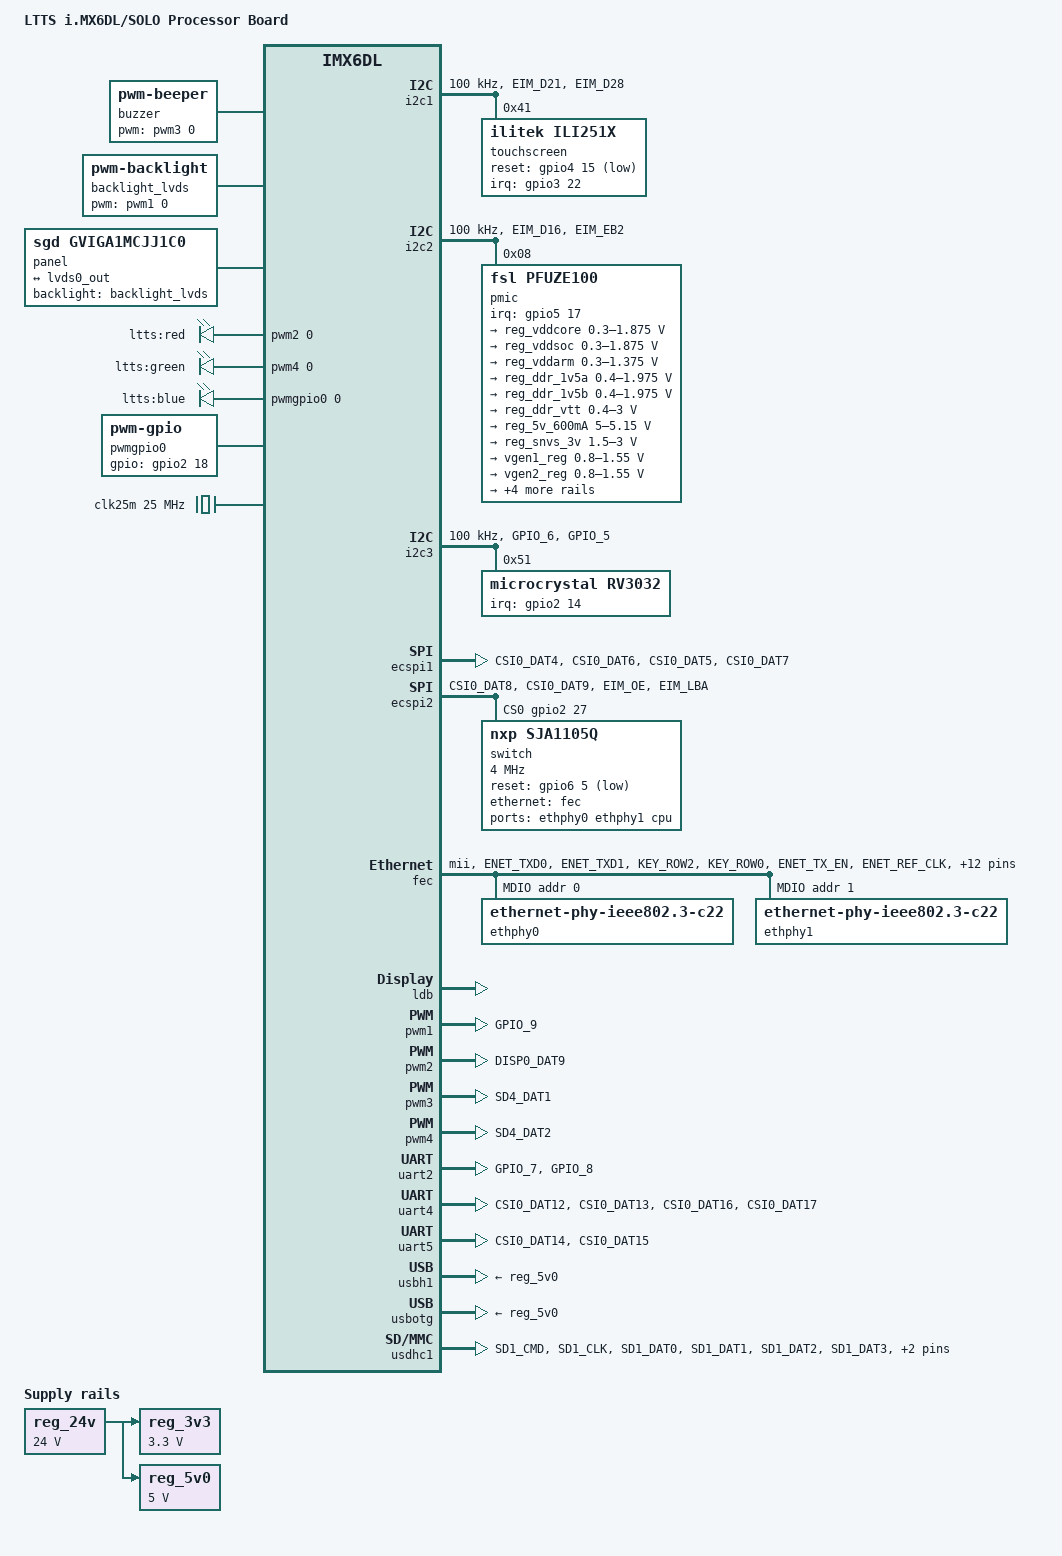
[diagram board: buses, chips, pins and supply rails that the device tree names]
// SPDX-License-Identifier: GPL-2.0 OR X11
/*
 * Copyright (C) 2016 Amarula Solutions
 */

/dts-v1/;

#include "imx6dl.dtsi"
#include <dt-bindings/gpio/gpio.h>

/ {
	model = "LTTS i.MX6DL/SOLO Processor Board";
	compatible = "ltts,imx6-icore", "fsl,imx6dl";

	chosen {
		stdout-path = &uart2;
	};

	buzzer {
		compatible = "pwm-beeper";
		pwms = <&pwm3 0 250000 0>;
		beeper-hz = <4000>;
        };

	backlight_lvds: backlight-lvds {
		compatible = "pwm-backlight";
		pwms = <&pwm1 0 5000000 0>;
		brightness-levels = <0 4 8 16 32 64 128 255>;
		default-brightness-level = <7>;
		status = "okay";
	};

	panel {
		compatible = "sgd,gviga1mcjj1c0";
		backlight = <&backlight_lvds>;

		port {
			panel_in: endpoint {
				remote-endpoint = <&lvds0_out>;
			};
		};
	};

	led-controller {
		compatible = "pwm-leds";

		led_red {
			label = "ltts:red";
			max-brightness = <255>;
			pwms = <&pwm2 0 5000000>;
		};

		led_green {
			label = "ltts:green";
			max-brightness = <255>;
			pwms = <&pwm4 0 5000000>;
		};

		led_blue {
			label = "ltts:blue";
			max-brightness = <255>;
			pwms = <&pwmgpio0 0 5000000>;
		};
	};

	pwmgpio0: pwmgpio0 {
		compatible = "pwm-gpio";
		#pwm-cells = <2>;
		gpios = <&gpio2 18 GPIO_ACTIVE_HIGH>;
		pinctrl-names = "default";
		pinctrl-0 = <&pinctrl_leds>;
	};

	clk25m: clock-25m {
		compatible = "fixed-clock";
		#clock-cells = <0>;
		clock-frequency = <25000000>;
		clock-output-names = "clk25m";
	};

	reg_24v: regulator-24v {
		compatible = "regulator-fixed";
		regulator-name = "24V";
		regulator-min-microvolt = <24000000>;
		regulator-max-microvolt = <24000000>;
		regulator-boot-on;
		regulator-always-on;
	};

	/* +3V3_DELAYED */
	reg_3v3: regulator-3v3 {
		compatible = "regulator-fixed";
		regulator-name = "3V3";
		regulator-min-microvolt = <3300000>;
		regulator-max-microvolt = <3300000>;
		regulator-boot-on;
		regulator-always-on;
		vin-supply = <&reg_24v>;
	};

	reg_5v0: regulator-5v0 {
		compatible = "regulator-fixed";
		regulator-name = "5V0";
		regulator-min-microvolt = <5000000>;
		regulator-max-microvolt = <5000000>;
		regulator-boot-on;
		regulator-always-on;
		vin-supply = <&reg_24v>;
	};
};

&i2c1 {
	clock-frequency = <100000>;
	pinctrl-names = "default";
	pinctrl-0 = <&pinctrl_i2c1>;
	status = "okay";

	touchscreen@41 {
		compatible = "ilitek,ili251x";
		reg = <0x41>;
		pinctrl-names = "default";
		pinctrl-0 =<&pinctrl_ts_int>;
		interrupt-parent = <&gpio3>;
		interrupts = <22 IRQ_TYPE_EDGE_FALLING>;
		reset-gpios = <&gpio4 15 GPIO_ACTIVE_LOW>;
		touchscreen-size-x = <16384>;
		touchscreen-size-y = <9600>;
        };
};

&i2c2 {
	clock-frequency = <100000>;
	pinctrl-names = "default";
	pinctrl-0 = <&pinctrl_i2c2>;
	status = "okay";

	pmic: pf0100@8 {
		compatible = "fsl,pfuze100";
		reg = <0x08>;
		interrupt-parent = <&gpio5>;
		interrupts = <17 IRQ_TYPE_LEVEL_LOW>;

		regulators {
			reg_vddcore: sw1ab {
				regulator-min-microvolt = <300000>;
				regulator-max-microvolt = <1875000>;
				regulator-boot-on;
				regulator-always-on;
				regulator-ramp-delay = <6250>;
			};

			reg_vddsoc: sw1c {
				regulator-min-microvolt = <300000>;
				regulator-max-microvolt = <1875000>;
				regulator-boot-on;
				regulator-always-on;
				regulator-ramp-delay = <6250>;
			};

			reg_vddarm: sw2 {
				regulator-min-microvolt = <300000>;
				regulator-max-microvolt = <1375000>;
				regulator-boot-on;
				regulator-always-on;
				regulator-ramp-delay = <6250>;
			};

			reg_ddr_1v5a: sw3a {
				regulator-min-microvolt = <400000>;
				regulator-max-microvolt = <1975000>;
				regulator-boot-on;
				regulator-always-on;
			};

			reg_ddr_1v5b: sw3b {
				regulator-min-microvolt = <400000>;
				regulator-max-microvolt = <1975000>;
				regulator-boot-on;
				regulator-always-on;
			};

			reg_ddr_vtt: sw4 {
				regulator-min-microvolt = <400000>;
				regulator-max-microvolt = <3000000>;
				regulator-always-on;
			};

			reg_5v_600mA: swbst {
				regulator-min-microvolt = <5000000>;
				regulator-max-microvolt = <5150000>;
			};

			reg_snvs_3v: vsnvs {
				regulator-min-microvolt = <1500000>;
				regulator-max-microvolt = <3000000>;
				regulator-boot-on;
				regulator-always-on;
			};

			vref_reg: vrefddr {
				regulator-boot-on;
				regulator-always-on;
			};

			vgen1_reg: vgen1 {
				regulator-min-microvolt = <800000>;
				regulator-max-microvolt = <1550000>;
			};

			vgen2_reg: vgen2 {
				regulator-min-microvolt = <800000>;
				regulator-max-microvolt = <1550000>;
			};

			vgen3_reg: vgen3 {
				regulator-min-microvolt = <1800000>;
				regulator-max-microvolt = <3300000>;
			};

			vgen4_reg: vgen4 {
				regulator-min-microvolt = <1800000>;
				regulator-max-microvolt = <3300000>;
				regulator-always-on;
			};

			vgen5_reg: vgen5 {
				regulator-min-microvolt = <1800000>;
				regulator-max-microvolt = <3300000>;
				regulator-always-on;
			};

			vgen6_reg: vgen6 {
				regulator-min-microvolt = <1800000>;
				regulator-max-microvolt = <3300000>;
				regulator-always-on;
			};
		};
	};
};

&i2c3 {
        clock-frequency = <100000>;
        pinctrl-names = "default";
        pinctrl-0 = <&pinctrl_i2c3>;
        status = "okay";

        rv3032: rtc@51 {
                compatible = "microcrystal,rv3032";
                reg = <0x51>;
                interrupts-extended = <&gpio2 14 IRQ_TYPE_LEVEL_LOW>;
                pinctrl-names = "default";
                pinctrl-0 = <&pinctrl_rtc>;
        };
};

&iomuxc {
	pinctrl_ecspi1: ecspi1grp {
		fsl,pins = <
			MX6QDL_PAD_CSI0_DAT4__ECSPI1_SCLK	0x1b0b0
			MX6QDL_PAD_CSI0_DAT6__ECSPI1_MISO	0x1b0b0
			MX6QDL_PAD_CSI0_DAT5__ECSPI1_MOSI	0x1b0b0
			MX6QDL_PAD_CSI0_DAT7__ECSPI1_SS0	0x1b0b0
		>;
	};

	pinctrl_ecspi2: ecspi2grp {
		fsl,pins = <
			MX6QDL_PAD_CSI0_DAT8__ECSPI2_SCLK	0x1b0b0
			MX6QDL_PAD_CSI0_DAT9__ECSPI2_MOSI	0x1b0b0
			MX6QDL_PAD_EIM_OE__ECSPI2_MISO		0x1b0b0
			MX6QDL_PAD_EIM_LBA__GPIO2_IO27		0x1b0b0
		>;
	};

	pinctrl_enet: enetgrp {
		fsl,pins = <
			MX6QDL_PAD_ENET_TXD0__ENET_TX_DATA0	0x1b0b0
			MX6QDL_PAD_ENET_TXD1__ENET_TX_DATA1	0x1b0b0
			MX6QDL_PAD_KEY_ROW2__ENET_TX_DATA2	0x1b0b0
			MX6QDL_PAD_KEY_ROW0__ENET_TX_DATA3	0x1b0b0
			MX6QDL_PAD_ENET_TX_EN__ENET_TX_EN	0x1b0b0
			MX6QDL_PAD_ENET_REF_CLK__ENET_TX_CLK	0x1b0b1

			MX6QDL_PAD_ENET_RXD0__ENET_RX_DATA0	0x1b0b0
			MX6QDL_PAD_ENET_RXD1__ENET_RX_DATA1	0x1b0b0
			MX6QDL_PAD_KEY_COL2__ENET_RX_DATA2	0x1b0b0
			MX6QDL_PAD_KEY_COL0__ENET_RX_DATA3      0x1b0b0
			MX6QDL_PAD_ENET_RX_ER__ENET_RX_ER	0x1b0b0
			MX6QDL_PAD_ENET_CRS_DV__ENET_RX_EN	0x1b0b0

			MX6QDL_PAD_ENET_MDIO__ENET_MDIO		0x1b0b0
			MX6QDL_PAD_ENET_MDC__ENET_MDC		0x1b0b0

			MX6QDL_PAD_KEY_COL3__ENET_CRS		0x1b0b0
			MX6QDL_PAD_KEY_ROW1__ENET_COL		0x1b0b0

			MX6QDL_PAD_GPIO_18__ENET_RX_CLK		0x1b0b1
			MX6QDL_PAD_GPIO_19__ENET_TX_ER		0x1b0b0
		>;
	};

	pinctrl_i2c1: i2c1grp {
		fsl,pins = <
			MX6QDL_PAD_EIM_D21__I2C1_SCL		0x4001b8b1
			MX6QDL_PAD_EIM_D28__I2C1_SDA		0x4001b8b1
		>;
	};

	pinctrl_i2c2: i2c2grp {
		fsl,pins = <
			MX6QDL_PAD_EIM_D16__I2C2_SDA		0x4001b8b1
			MX6QDL_PAD_EIM_EB2__I2C2_SCL		0x4001b8b1
		>;
	};

	pinctrl_i2c3: i2c3grp {
		fsl,pins = <
			MX6QDL_PAD_GPIO_6__I2C3_SDA		0x4001b8b1
			MX6QDL_PAD_GPIO_5__I2C3_SCL		0x4001b8b1
                >;
        };

	pinctrl_pwm1: pwm1grp {
		fsl,pins = <
			MX6QDL_PAD_GPIO_9__PWM1_OUT		0x1b0b1
		>;
	};

	pinctrl_pwm2: pwm2grp {
		fsl,pins = <
			MX6QDL_PAD_DISP0_DAT9__PWM2_OUT         0x1b0b1
		>;
	};

	pinctrl_pwm3: pwm3grp {
		fsl,pins = <
			MX6QDL_PAD_SD4_DAT1__PWM3_OUT           0x1b0b1
		>;
	};

	pinctrl_pwm4: pwm4grp {
		fsl,pins = <
			MX6QDL_PAD_SD4_DAT2__PWM4_OUT           0x1b0b1
		>;
	};

	pinctrl_uart2: uart2grp {
		fsl,pins = <
			MX6QDL_PAD_GPIO_7__UART2_TX_DATA	0x1b0b1
			MX6QDL_PAD_GPIO_8__UART2_RX_DATA	0x1b0b1
		>;
	};

	pinctrl_uart4: uart4grp {
		fsl,pins = <
			MX6QDL_PAD_CSI0_DAT12__UART4_TX_DATA	0x1b0b0
			MX6QDL_PAD_CSI0_DAT13__UART4_RX_DATA	0x1b0b0
			MX6QDL_PAD_CSI0_DAT16__UART4_RTS_B	0x1b0b0
			MX6QDL_PAD_CSI0_DAT17__UART4_CTS_B	0x1b0b0
		>;
	};

	pinctrl_uart5: uart5grp {
		fsl,pins = <
			MX6QDL_PAD_CSI0_DAT14__UART5_TX_DATA	0x1b0b1
			MX6QDL_PAD_CSI0_DAT15__UART5_RX_DATA	0x1b0b1
		>;
	};

	pinctrl_usdhc1: usdhc1grp {
		fsl,pins = <
			MX6QDL_PAD_SD1_CMD__SD1_CMD		0x17070
			MX6QDL_PAD_SD1_CLK__SD1_CLK		0x10070
			MX6QDL_PAD_SD1_DAT0__SD1_DATA0		0x17070
			MX6QDL_PAD_SD1_DAT1__SD1_DATA1		0x17070
			MX6QDL_PAD_SD1_DAT2__SD1_DATA2		0x17070
			MX6QDL_PAD_SD1_DAT3__SD1_DATA3		0x17070
			MX6QDL_PAD_EIM_BCLK__GPIO6_IO31		0xb0b1
		>;
	};

	pinctrl_rtc: rtcgrp {
		fsl,pins = <
			MX6QDL_PAD_SD4_DAT6__GPIO2_IO14		0x1b0b0
		>;
	};

	pinctrl_sja1105_rst: sja1105rstgrp {
		fsl,pins = <
			MX6QDL_PAD_CSI0_DAT19__GPIO6_IO05	0x10030
		>;
	};

	pinctrl_ts_int: tsintgrp {
		fsl,pins = <
			MX6QDL_PAD_EIM_D22__GPIO3_IO22		0x1b0b0
		>;
	};

	pinctrl_leds: ledsgrp {
		fsl,pins = <
			MX6QDL_PAD_EIM_A20__GPIO2_IO18		0xb0b1
		>;
	};
};

&ecspi1 {
	cs-gpios = <&gpio5 25 GPIO_ACTIVE_HIGH>;
	pinctrl-names = "default";
	pinctrl-0 = <&pinctrl_ecspi1>;
	status = "okay";
};

&ecspi2 {
	cs-gpios = <&gpio2 27 GPIO_ACTIVE_HIGH>;
	pinctrl-names = "default";
	pinctrl-0 = <&pinctrl_ecspi2>;
	status = "okay";

	switch@0 {
		compatible = "nxp,sja1105q";
		reg = <0>;
		spi-max-frequency = <4000000>;
		spi-rx-delay-us = <1>;
		spi-tx-delay-us = <1>;
		spi-cpha;

		clocks = <&clk25m>;

		pinctrl-0 = <&pinctrl_sja1105_rst>;
		pinctrl-names = "default";
		reset-gpios = <&gpio6 5 GPIO_ACTIVE_LOW>;

		ports {
			#address-cells = <1>;
			#size-cells = <0>;

			port@0 {
				reg = <0>;
				status = "disabled";
			};

			port@1 {
				reg = <1>;
				status = "disabled";
			};

			port@2 {
				reg = <2>;
				label = "ethphy0";
				phy-handle = <&ethphy0>;
				phy-mode = "mii";
			};

			port@3 {
				reg = <3>;
				label = "ethphy1";
				phy-handle = <&ethphy1>;
				phy-mode = "mii";
			};

			port@4 {
				reg = <4>;
				label = "cpu";
				ethernet = <&fec>;
				phy-mode = "mii";
				rx-internal-delay-ps = <2000>;
				tx-internal-delay-ps = <2000>;

				fixed-link {
					speed = <100>;
					full-duplex;
				};
			};
		};
	};
};

&fec {
	pinctrl-names = "default";
	pinctrl-0 = <&pinctrl_enet>;
	phy-mode = "mii";
	status = "okay";

	mdio {
		#address-cells = <1>;
		#size-cells = <0>;

		ethphy0: ethernet-phy@0 {
			compatible = "ethernet-phy-ieee802.3-c22";
			reg = <0>;
		};

		ethphy1: ethernet-phy@1 {
			compatible = "ethernet-phy-ieee802.3-c22";
			reg = <1>;
		};
	};
};

&gpio2 {
	status = "okay";
};

&gpio3 {
	status = "okay";
};

&gpio4 {
	status = "okay";
};

&gpio5 {
	status = "okay";
};

&gpio6 {
	status = "okay";
};

&gpio7 {
	status = "okay";
};

&ldb {
	status = "okay";

	lvds-channel@0 {
		fsl,data-mapping = "spwg";
		fsl,data-width = <24>;
		status = "okay";

		port@4 {
			reg = <4>;

			lvds0_out: endpoint {
				remote-endpoint = <&panel_in>;
			};
		};
	};
};

&pwm1 {
        #pwm-cells = <2>;
        pinctrl-names = "default";
        pinctrl-0 = <&pinctrl_pwm1>;
        status = "okay";
};

&pwm2 {
	#pwm-cells = <2>;
	pinctrl-names = "default";
	pinctrl-0 = <&pinctrl_pwm2>;
	status = "okay";
};

&pwm3 {
        #pwm-cells = <3>;
        pinctrl-names = "default";
        pinctrl-0 = <&pinctrl_pwm3>;
        status = "okay";
};

&pwm4 {
        #pwm-cells = <2>;
        pinctrl-names = "default";
        pinctrl-0 = <&pinctrl_pwm4>;
        status = "okay";
};

&uart2 {
	pinctrl-names = "default";
	pinctrl-0 = <&pinctrl_uart2>;
	status = "okay";
};

&uart4 {
	pinctrl-names = "default";
	pinctrl-0 = <&pinctrl_uart4>;
	uart-has-rtscts;
	status = "okay";
};

&uart5 {
	pinctrl-names = "default";
	pinctrl-0 = <&pinctrl_uart5>;
	status = "okay";
};

&usbh1 {
	vbus-supply = <&reg_5v0>;
	disable-over-current;
	status = "okay";
};

&usbotg {
	vbus-supply = <&reg_5v0>;
	disable-over-current;
	status = "okay";
};

&usdhc1 {
	pinctrl-names = "default";
	pinctrl-0 = <&pinctrl_usdhc1>;
	cd-gpios = <&gpio7 31 GPIO_ACTIVE_LOW>;
	no-1-8-v;
	status = "okay";
};

&sdma {
	status = "okay";
};
